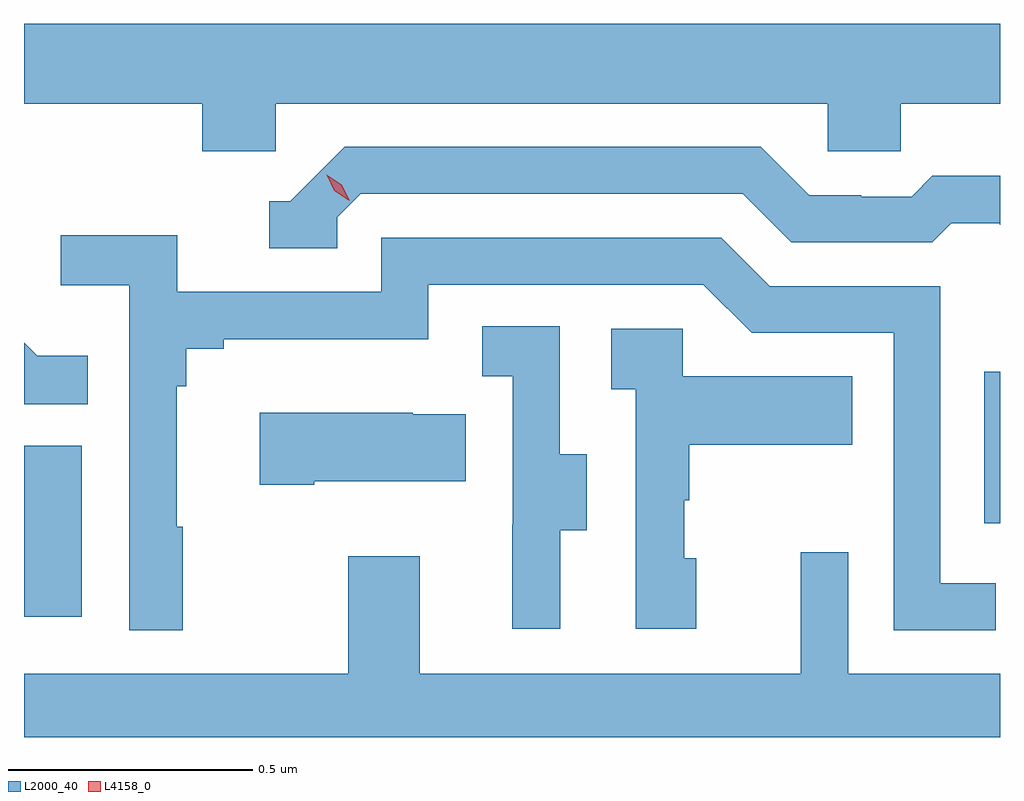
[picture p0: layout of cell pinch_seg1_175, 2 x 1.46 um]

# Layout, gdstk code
import gdstk
lib = gdstk.Library(unit=1e-6, precision=1e-09)
def R(c, l, rs):  # rectangles x0, y0, x1, y1
    for r in rs: c.add(gdstk.rectangle(r[:2], r[2:], *l))
def P(c, l, *ps):  # polygons
    for p in ps: c.add(gdstk.Polygon(p, *l))
L2000_40 = (2000, 40)
L4158_0 = (4158, 0)

pinch_seg1_175 = lib.new_cell('pinch_seg1_175')
R(pinch_seg1_175, L2000_40, [(1090.902,542.688,1091.02,543.039), (1092.87,542.88,1092.902,543.19)])
P(pinch_seg1_175, L2000_40, [(1091.418,543.74),(1092.549,543.74),(1092.549,543.642),(1092.699,543.642),(1092.699,543.74),(1092.902,543.74),(1092.902,543.904),(1090.902,543.904),(1090.902,543.74),(1091.267,543.74),(1091.267,543.642),(1091.418,543.642)],
  [(1091.544,543.507),(1091.592,543.555),(1092.375,543.555),(1092.474,543.456),(1092.763,543.456),(1092.802,543.495),(1092.901,543.495),(1092.901,543.492),(1092.902,543.492),(1092.902,543.592),(1092.763,543.592),(1092.721,543.549),(1092.618,543.549),(1092.618,543.552),(1092.511,543.552),(1092.412,543.651),(1091.559,543.651),(1091.448,543.54),(1091.405,543.54),(1091.405,543.444),(1091.544,543.444)],
  [(1091.227,542.873),(1091.215,542.873),(1091.215,543.161),(1091.234,543.161),(1091.234,543.238),(1091.311,543.238),(1091.311,543.257),(1091.73,543.257),(1091.73,543.369),(1092.294,543.369),(1092.393,543.27),(1092.684,543.27),(1092.684,542.661),(1092.893,542.661),(1092.893,542.757),(1092.78,542.757),(1092.78,543.366),(1092.43,543.366),(1092.331,543.465),(1091.634,543.465),(1091.634,543.354),(1091.216,543.354),(1091.216,543.47),(1090.977,543.47),(1090.977,543.368),(1091.118,543.368),(1091.118,542.661),(1091.227,542.661)],
  [(1092.001,542.866),(1092.055,542.866),(1092.055,543.021),(1092,543.021),(1092,543.284),(1091.841,543.284),(1091.841,543.181),(1091.904,543.181),(1091.904,542.877),(1091.903,542.877),(1091.903,542.664),(1092.001,542.664)],
  [(1092.28,542.808),(1092.255,542.808),(1092.255,542.927),(1092.265,542.927),(1092.265,543.041),(1092.599,543.041),(1092.599,543.181),(1092.252,543.181),(1092.252,543.279),(1092.105,543.279),(1092.105,543.155),(1092.156,543.155),(1092.156,542.664),(1092.28,542.664)],
  [(1091.033,543.223),(1090.929,543.223),(1090.902,543.25),(1090.902,543.124),(1091.033,543.124)],
  [(1091.497,542.966),(1091.807,542.966),(1091.807,543.103),(1091.699,543.103),(1091.699,543.106),(1091.385,543.106),(1091.385,542.959),(1091.497,542.959)],
  [(1092.902,542.572),(1092.591,542.572),(1092.591,542.821),(1092.494,542.821),(1092.494,542.572),(1091.713,542.572),(1091.713,542.812),(1091.566,542.812),(1091.566,542.572),(1090.902,542.572),(1090.902,542.441),(1092.902,542.441)])
P(pinch_seg1_175, L4158_0, [(1091.568,543.541),(1091.538,543.561),(1091.522,543.594),(1091.522,543.594),(1091.522,543.594),(1091.553,543.574),(1091.568,543.542),(1091.568,543.541)])

lib.write_gds('pinch_seg1_175.gds')
